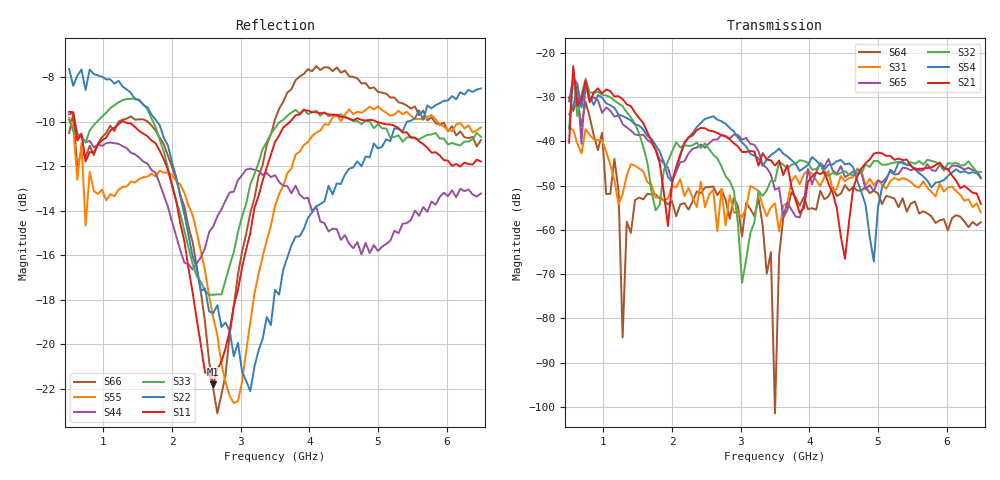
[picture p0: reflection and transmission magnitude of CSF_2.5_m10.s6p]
!Keysight Technologies,M9804A,MY58100912,A.14.10.03
!Date: Thursday, April 27, 2023 10:28:33
!Correction: S11(C  6-Port  )
!S12(C  6-Port  )
!S13(C  6-Port  )
!S14(C  6-Port  )
!S15(C  6-Port  )
!S16(C  6-Port  )
!S21(C  6-Port  )
!S22(C  6-Port  )
!S23(C  6-Port  )
!S24(C  6-Port  )
!S25(C  6-Port  )
!S26(C  6-Port  )
!S31(C  6-Port  )
!S32(C  6-Port  )
!S33(C  6-Port  )
!S34(C  6-Port  )
!S35(C  6-Port  )
!S36(C  6-Port  )
!S41(C  6-Port  )
!S42(C  6-Port  )
!S43(C  6-Port  )
!S44(C  6-Port  )
!S45(C  6-Port  )
!S46(C  6-Port  )
!S51(C  6-Port  )
!S52(C  6-Port  )
!S53(C  6-Port  )
!S54(C  6-Port  )
!S55(C  6-Port  )
!S56(C  6-Port  )
!S61(C  6-Port  )
!S62(C  6-Port  )
!S63(C  6-Port  )
!S64(C  6-Port  )
!S65(C  6-Port  )
!S66(C  6-Port  )
!S6P File: Measurement: :
# Hz S  RI  R 50
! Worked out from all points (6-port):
!   101 points, 500 MHz to 6.5 GHz, reference 50 ohm
!   strongest paths, dB at 500 MHz, 2 GHz, 3.5 GHz, 5 GHz, 6.5 GHz:
!     S21: -40.3, -49.5, -45.5, -42.5, -54.1
!     S54: -33.9, -49.1, -42.5, -55.0, -48.3
!     S32: -37.1, -42.3, -49.0, -44.5, -46.9
!     S65: -30.9, -48.9, -50.9, -48.8, -48.2
!     S31: -36.9, -50.0, -54.0, -48.8, -56.1
!     S64: -30.0, -53.6, -101.4, -51.7, -58.3
!   lowest |S11| = -21.8 dB at 2.6 GHz (marker M1), VSWR 1.18, Z = 42.7 + j1.94 ohm
!   |S11| at or under -10 dB: 579.7 MHz to 1.268 GHz (688.6 MHz wide, 74.5 % of centre); 1.299 GHz to 3.72 GHz (2.422 GHz wide, 96.5 % of centre); 4.975 GHz to end of sweep
